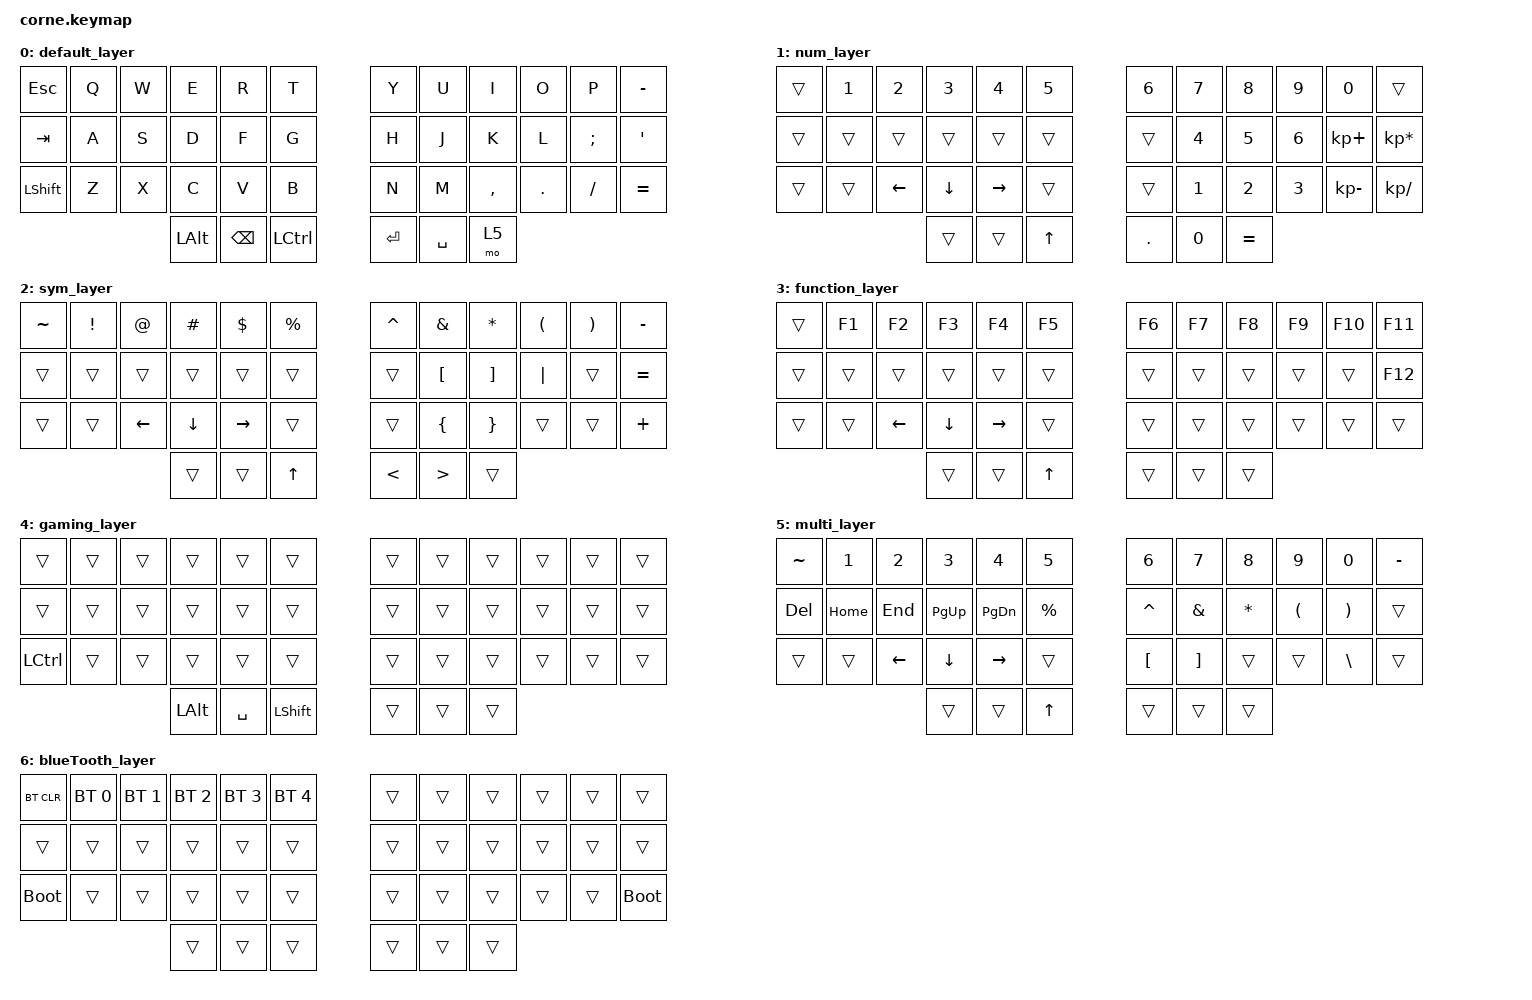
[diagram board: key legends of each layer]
/*
 * Copyright (c) 2020 The ZMK Contributors
 *
 * SPDX-License-Identifier: MIT
 */

#include <behaviors.dtsi>
#include <dt-bindings/zmk/keys.h>
#include <dt-bindings/zmk/bt.h>

#define DEFAULT 0
#define NUM     1
#define SYM     2
#define FUNC    3
#define GAMING  4
#define MULTI   5
#define BLUET   6

/* Key Position for Combos
*------------------------------------------------       -------------------------------------------------
*|0	|1	|2	|3	|4	|5	|	|6	|7	|8	|9	|10	|11	|
*------------------------------------------------	-------------------------------------------------											
*|12	|13	|14	|15	|16	|17	|	|18	|19	|20	|21	|22	|23	|
*------------------------------------------------	-------------------------------------------------													
*|24	|25	|26	|27	|28	|29	|	|30	|31	|32	|33	|34	|35	|
*------------------------------------------------       -------------------------------------------------									
*			|36	|37	|38	|	|39	|40	|41	|		
*			-------------------------       -------------------------
*/

/{
        combos {
                compatible = "zmk,combos";
                // Toggles the different layers using combos
                // Added combos for each side to get to all layers
                combo_pageUp{
                         timeout-ms = <50>;
                         key-positions = <2 3 4>;
                         bindings = <&kp PG_UP>;
                };
                combo_pageDn{
                         timeout-ms = <50>;
                         key-positions = <14 15 16>;
                         bindings = <&kp PG_DN>;
                };                
                combo_left{
                         timeout-ms = <50>;
                         key-positions = <14 26>;
                         bindings = <&kp LEFT>;
                };  
                combo_down{
                         timeout-ms = <50>;
                         key-positions = <15 27>;
                         bindings = <&kp DOWN>;
                };    
                combo_right{
                         timeout-ms = <50>;
                         key-positions = <16 28>;
                         bindings = <&kp RIGHT>;
                };    
                combo_up{
                         timeout-ms = <50>;
                         key-positions = <29 38>;
                         bindings = <&kp UP>;
                };             
                combo_OS{
                         timeout-ms = <50>;
                         key-positions = <36 37 38>;
                         bindings = <&kp LGUI>;
                };
                combo_ctrlHome{ 
                        timeout-ms = <50>; 
                        key-positions = <1 2 3 4>;
                        bindings = <&macro_CTRL_HOME>; 
                };
                combo_ctrlEnd{ 
                        timeout-ms = <50>; 
                        key-positions = <13 14 15 16>;
                        bindings = <&macro_CTRL_END>; 
                };   
                combo_Select_All{ 
                        timeout-ms = <50>; 
                        key-positions = <7 8 9 10>;
                        bindings = <&macro_Select_All>; 
                }; 
                combo_Copy{ 
                        timeout-ms = <50>; 
                        key-positions = <19 20 21 22>;
                        bindings = <&macro_Copy>; 
                }; 
                combo_Paste{ 
                        timeout-ms = <50>; 
                        key-positions = <31 32 33 34>;
                        bindings = <&macro_Paste>; 
                };              
                combo_blueT{
                        timeout-ms = <50>;
                        key-positions = <0 1 2>;
                        bindings = <&tog 6>;
                };
                combo_numL{
                        timeout-ms = <50>;
                        key-positions = <0 2>;
                        bindings = <&tog 1>;
                };
                combo_symL {
                        timeout-ms = <50>;
                        key-positions = <0 3>;
                        bindings = <&tog 2>;
                };        
                combo_funcL{
                        timeout-ms = <50>;
                        key-positions = <0 4>;
                        bindings = <&tog 3>;
                };     
                combo_gamingL{
                        timeout-ms = <50>;
                        key-positions = <0 5>;
                        bindings = <&tog 4>;
                };  
                combo_multiL{
                        timeout-ms = <50>;
                        key-positions = <28 29 38>;
                        bindings = <&tog 5>;
                };                    
                combo_numR{
                        timeout-ms = <50>;
                        key-positions = <11 6>;
                        bindings = <&tog 1>;
                };
                combo_symR{
                        timeout-ms = <50>;
                        key-positions = <11 7>;
                        bindings = <&tog 2>;
                };   

                combo_funcR{
                        timeout-ms = <50>;
                        key-positions = <11 8>;
                        bindings = <&tog 3>;
                };     
                combo_gamingR{
                        timeout-ms = <50>;
                        key-positions = <11 9>;
                        bindings = <&tog 4>;
                };    
                combo_multiR{
                        timeout-ms = <50>;
                        key-positions = <30 31 39>;
                        bindings = <&tog 5>;
                };       
                combo_vol_down{
                        timeout-ms = <50>;
                        key-positions = <22 34>;
                        bindings = <&kp C_VOLUME_DOWN>;
                };  
                combo_vol_up{
                        timeout-ms = <50>;
                        key-positions = <23 35>;
                        bindings = <&kp C_VOLUME_UP>;
                };       
                combo_num_1{
                        timeout-ms = <50>;
                        key-positions = <1 13>;
                        bindings = <&kp N1>;
                };               
                combo_num_2{
                        timeout-ms = <50>;
                        key-positions = <2 14>;
                        bindings = <&kp N2>;
                };
                combo_num_3{
                        timeout-ms = <50>;
                        key-positions = <3 15>;
                        bindings = <&kp N3>;
                };
                combo_num_4{
                        timeout-ms = <50>;
                        key-positions = <4 16>;
                        bindings = <&kp N4>;
                };
                combo_num_5{
                        timeout-ms = <50>;
                        key-positions = <5 17>;
                        bindings = <&kp N5>;
                };
                combo_num_6{
                        timeout-ms = <50>;
                        key-positions = <6 18>;
                        bindings = <&kp N6>;
                };
                combo_num_7{
                        timeout-ms = <50>;
                        key-positions = <7 19>;
                        bindings = <&kp N7>;
                };
                combo_num_8{
                        timeout-ms = <50>;
                        key-positions = <8 20>;
                        bindings = <&kp N8>;
                };
                combo_num_9{
                        timeout-ms = <50>;
                        key-positions = <9 21>;
                        bindings = <&kp N9>;
                };
                combo_num_0{
                        timeout-ms = <50>;
                        key-positions = <10 22>;
                        bindings = <&kp N0>;
                };
                combo_f1{
                        timeout-ms = <50>;
                        key-positions = <1 13 25>;
                        bindings = <&kp F1>;
                };               
                combo_f2{
                        timeout-ms = <50>;
                        key-positions = <2 14 26>;
                        bindings = <&kp F2>;
                };
                combo_f3{
                        timeout-ms = <50>;
                        key-positions = <3 15 27>;
                        bindings = <&kp F3>;
                };
                combo_f4{
                        timeout-ms = <50>;
                        key-positions = <4 16 28>;
                        bindings = <&kp F4>;
                };
                combo_f5{
                        timeout-ms = <50>;
                        key-positions = <5 17 29>;
                        bindings = <&kp F5>;
                };
                combo_f6{
                        timeout-ms = <50>;
                        key-positions = <6 18 30>;
                        bindings = <&kp F6>;
                };
                combo_f7{
                        timeout-ms = <50>;
                        key-positions = <7 19 31>;
                        bindings = <&kp F7>;
                };
                combo_f8{
                        timeout-ms = <50>;
                        key-positions = <8 20 32>;
                        bindings = <&kp F8>;
                };
                combo_f9{
                        timeout-ms = <50>;
                        key-positions = <9 21 33>;
                        bindings = <&kp F9>;
                };
                combo_f10{
                        timeout-ms = <50>;
                        key-positions = <10 22 34>;
                        bindings = <&kp F10>;
                };
                combo_f11{
                        timeout-ms = <50>;
                        key-positions = <11 23 35>;
                        bindings = <&kp F11>;
                };
        };
        macros{
                ZMK_MACRO(macro_CTRL_HOME,
                        wait-ms = <30>;
                        tap-ms = <40>;
                        bindings 
                                = <&macro_press         &kp LSHFT>
                                , <&macro_press         &kp LCTRL>
                                , <&macro_tap           &kp HOME>
                                , <&macro_release       &kp LCTRL>
                                , <&macro_release       &kp LSHFT>
                        ;
                )
                ZMK_MACRO(macro_CTRL_END,
                        wait-ms = <30>;
                        tap-ms = <40>;
                        bindings 
                                = <&macro_press         &kp LSHFT>
                                , <&macro_press         &kp LCTRL>
                                , <&macro_tap           &kp END>
                                , <&macro_release       &kp LCTRL>
                                , <&macro_release       &kp LSHFT>
                        ;
                )    
                ZMK_MACRO(macro_Select_All,
                        wait-ms = <30>;
                        tap-ms = <40>;
                        bindings 
                                = <&macro_press         &kp LCTRL>
                                , <&macro_tap           &kp A>
                                , <&macro_release       &kp LCTRL> 
                        ;
                )      
                ZMK_MACRO(macro_Copy,
                        wait-ms = <30>;
                        tap-ms = <40>;
                        bindings 
                                = <&macro_press         &kp LCTRL>
                                , <&macro_tap           &kp C>
                                , <&macro_release       &kp LCTRL> 
                        ;
                )
                ZMK_MACRO(macro_Paste,
                        wait-ms = <30>;
                        tap-ms = <40>;
                        bindings 
                                = <&macro_press         &kp LCTRL>
                                , <&macro_tap           &kp V>
                                , <&macro_release       &kp LCTRL> 
                        ;
                )                        
        };

        keymap {
                compatible = "zmk,keymap";

                default_layer {

                        bindings = < 
//-----------------------------------------------------------------------------------------------------------------------------------------------------------------------------------------------               
//|       ESC    |       Q       |        W      |       E       |        R      |        T      |        Y      |        U      |        I      |       O       |       P       |      -       |              
        &kp ESC         &kp Q           &kp W           &kp E           &kp R           &kp T           &kp Y           &kp U           &kp I           &kp O           &kp P        &kp MINUS
//|              |               |               |               |               |               |               |               |               |               |               |              |        
//-----------------------------------------------------------------------------------------------------------------------------------------------------------------------------------------------
//|       TAB    |       A       |       S       |       D       |        F      |        G      |        H      |        J      |        K      |       L       |       ;       |      '       |                
        &kp TAB         &kp A           &kp S           &kp D           &kp F           &kp G           &kp H           &kp J           &kp K           &kp L           &kp SEMI      &kp SQT
//|              |               |               |               |               |               |               |               |               |               |               |              |        
//-----------------------------------------------------------------------------------------------------------------------------------------------------------------------------------------------
//|  Left Shift  |       Z       |       X       |       C       |        V      |        B      |        N      |        M      |        ,      |       .       |       /       |       =      |            
      &kp LSHFT        &kp Z           &kp X           &kp C           &kp V           &kp B           &kp N           &kp M          &kp COMMA       &kp DOT         &kp FSLH       &kp EQUAL
//|              |               |               |               |               |               |               |               |               |               |               |              |        
//-----------------------------------------------------------------------------------------------------------------------------------------------------------------------------------------------        
//                                         |    Left ALT   |    Backspace  |   Left CTRL   |               |               |    Spacebar   |  Funct Layer  |
                                                &kp LALT       &kp BSPC        &kp LCTRL                        &kp RET         &kp SPACE       &mo 5
//                                         |               |               |               |               |               |               |               |
//                                         -----------------------------------------------------------------------------------------------------------------
                        >;
                };
                num_layer {
                        bindings = < 
 //-----------------------------------------------------------------------------------------------------------------------------------------------------------------------------------------------               
//|       _      |       1       |        2      |       3       |        4      |        5      |        6      |        7      |        8      |       9       |       0       |      _       |              
        &trans        &kp N1           &kp N2         &kp N3           &kp N4          &kp N5          &kp N6          &kp N7          &kp N8         &kp N9          &kp N0         &trans
//|              |               |               |               |               |               |               |               |               |               |               |              |        
//-----------------------------------------------------------------------------------------------------------------------------------------------------------------------------------------------
//|       _      |       _       |       _       |       _       |        _      |        _      |       _       |        4      |        5      |       6       |       +       |      *       |        
        &trans          &trans         &trans          &trans           &trans       &trans           &trans           &kp N4          &kp N5         &kp N6        &kp KP_PLUS   &kp KP_MULTIPLY
//|              |               |               |               |               |               |               |               |               |               |               |              |        
//-----------------------------------------------------------------------------------------------------------------------------------------------------------------------------------------------
//|       _      |       _       |      LEFT     |      DOWN     |      RIGHT    |        _      |       _       |        1      |        2      |       3       |       -       |      /       |            
        &trans        &trans           &kp LEFT       &kp DOWN         &kp RIGHT       &trans         &trans           &kp N1          &kp N2         &kp N3        &kp KP_MINUS   &kp KP_DIVIDE
//|              |               |               |               |               |               |               |               |               |               |               |              |        
//-----------------------------------------------------------------------------------------------------------------------------------------------------------------------------------------------        
//                                         |       _       |       _       |       UP       |               |       .       |       0       |       =       | 
                                                &trans           &trans          &kp UP                          &kp DOT         &kp N0        &kp EQUAL
//                                         |               |               |               |               |               |               |               |
//                                         -----------------------------------------------------------------------------------------------------------------                        

                        >;
                };

                sym_layer {
                        bindings = < 
//-----------------------------------------------------------------------------------------------------------------------------------------------------------------------------------------------               
//|       ~      |       !       |        @      |       #       |        $      |        %      |        ^      |        &      |        *      |       (       |        )      |      -       |              
       &kp TILDE      &kp EXCL         &kp AT         &kp HASH       &kp DOLLAR     &kp PERCENT      &kp CARET     &kp AMPERSAND   &kp ASTERISK      &kp LPAR        &kp RPAR        &kp MINUS
//|              |               |               |               |               |               |               |               |               |               |               |              |        
//-----------------------------------------------------------------------------------------------------------------------------------------------------------------------------------------------
//|       _      |       _       |       _       |       _       |        _      |        _      |        _      |     LBracket  |     RBracket  |      Pipe     |       _       |      =       |               
        &trans          &trans         &trans          &trans           &trans          &trans          &trans        &kp LBKT        &kp RBKT        &kp PIPE          &trans       &kp EQUAL
//|              |               |               |               |               |               |               |               |               |               |               |              |        
//-----------------------------------------------------------------------------------------------------------------------------------------------------------------------------------------------
//|       _      |       _       |      LEFT     |      DOWN     |      RIGHT    |        _      |        _      |     LBrace    |      RBrace   |       _       |       _       |      +       |            
        &trans        &trans           &kp LEFT       &kp DOWN         &kp RIGHT       &trans           &trans        &kp LBRC         &kp RBRC         &trans           &trans      &kp PLUS
//|              |               |               |               |               |               |               |               |               |               |               |              |        
//-----------------------------------------------------------------------------------------------------------------------------------------------------------------------------------------------        
//                                         |       _       |        _      |       UP       |               |    Less Then  |  Greater Then |       _       | 
                                                &trans           &trans          &kp UP                           &kp LT         &kp GT         &trans
//                                         |               |               |               |               |               |               |               |
//                                         -----------------------------------------------------------------------------------------------------------------
                        >;
                };
                function_layer {
                        bindings = < 
//-----------------------------------------------------------------------------------------------------------------------------------------------------------------------------------------------               
//|       _      |       F1      |       F2      |      F3       |       F4      |       F5      |       F6      |       F7      |       F8      |      F9       |      F10       |      F11    |            
        &trans         &kp F1          &kp F2         &kp F3          &kp F4          &kp F5          &kp F6          &kp F7           &kp F8         &kp F9          &kp F10         &kp F11
//|              |               |               |               |               |               |               |               |               |               |                |             |        
//-----------------------------------------------------------------------------------------------------------------------------------------------------------------------------------------------
//|       _      |       _       |       _       |       _       |        _      |       _      |        _      |        _      |        _      |       _       |       _        |      F12     |        
        &trans        &trans           &trans          &trans          &trans        &trans          &trans          &trans          &trans         &trans          &trans          &kp F12
//|              |               |               |               |               |               |               |               |               |               |               |              |        
//-----------------------------------------------------------------------------------------------------------------------------------------------------------------------------------------------
//|       _      |       _       |      LEFT     |      DOWN     |      RIGHT    |        _      |        _      |        _      |        _      |       _       |       _       |      _       |            
        &trans        &trans           &kp LEFT       &kp DOWN         &kp RIGHT       &trans           &trans          &trans         &trans         &trans           &trans         &trans
//|              |               |               |               |               |               |               |               |               |               |               |              |        
//-----------------------------------------------------------------------------------------------------------------------------------------------------------------------------------------------        
//                                         |       _       |    DELETE     |      UP       |               |       _       |       _       |       _       | 
                                                &trans          &trans          &kp UP                        &trans            &trans          &trans
//                                         |               |               |               |               |               |               |               |
//                                         -----------------------------------------------------------------------------------------------------------------
                        >;
                };           
                gaming_layer {    
                        bindings = < 
//-------------------------------------------------------------------------------------------------------------------------------------------------------------------------------------              
//|       _      |       _      |       _      |       _      |       _      |       _      |       _      |       _      |       _      |       _      |       _      |       _      |              
       &trans         &trans         &trans         &trans         &trans         &trans         &trans         &trans         &trans         &trans         &trans         &trans
//|       _      |       _      |       _      |       _      |       _      |       _      |       _      |       _      |       _      |       _      |       _      |       _      |         
//-------------------------------------------------------------------------------------------------------------------------------------------------------------------------------------              
//|       _      |       _      |       _      |       _      |       _      |       _      |       _      |       _      |       _      |       _      |       _      |       _      |              
       &trans         &trans         &trans         &trans         &trans         &trans         &trans         &trans         &trans         &trans         &trans         &trans
//|       _      |       _      |       _      |       _      |       _      |       _      |       _      |       _      |       _      |       _      |       _      |       _      |         
//-------------------------------------------------------------------------------------------------------------------------------------------------------------------------------------              
//|  Left CTRL   |       _      |       _      |       _      |       _      |       _      |       _      |       _      |       _      |       _      |       _      |       _      |              
     &kp LCTRL        &trans         &trans         &trans         &trans         &trans         &trans         &trans         &trans         &trans         &trans         &trans
//|       _      |       _      |       _      |       _      |       _      |       _      |       _      |       _      |       _      |       _      |       _      |       _      |         
//------------------------------------------------------------------------------------------------------------------------------------------------------------------------------------- 
//                                     |   Left ALT   |   Spacebar   |  Left Shift  |       _      |       _      |       _      |
                                           &kp LALT       &kp SPACE      &kp LSHFT       &trans         &trans         &trans
//                                     |       _      |       _      |       _      |       _      |       _      |       _      |
//                                     -------------------------------------------------------------------------------------------
                        >;
                };   
                multi_layer {    
                        bindings = < 
//-----------------------------------------------------------------------------------------------------------------------------------------------------------------------------------------------               
//|       ~      |       1       |        2      |       3       |        4      |        5      |        6      |        7      |        8      |       9       |       0       |       -       |            
     &kp TILDE         &kp N1           &kp N2         &kp N3           &kp N4          &kp N5          &kp N6          &kp N7          &kp N8         &kp N9          &kp N0        &kp MINUS
//|              |               |               |               |               |               |               |               |               |               |               |               |        
 //-----------------------------------------------------------------------------------------------------------------------------------------------------------------------------------------------               
//|    DELETE    |     HOME      |       END     |      PGUP     |     PGDOWN    |        %      |        ^      |        &      |        *      |  LParentheses | RParentheses  |       _       |              
     &kp DELETE      &kp HOME          &kp END        &kp PG_UP       &kp PG_DN     &kp PERCENT      &kp CARET     &kp AMPERSAND   &kp ASTERISK      &kp LPAR        &kp RPAR         &trans
//|              |               |               |               |               |               |               |               |               |               |               |               |        
//-----------------------------------------------------------------------------------------------------------------------------------------------------------------------------------------------
//|       _      |       _       |      LEFT     |      DOWN     |      RIGHT    |       _       |     LBracket  |     RBracket  |       _       |       _       |    B Slash    |       _       |            
        &trans        &trans          &kp LEFT       &kp DOWN         &kp RIGHT       &trans          &kp LBKT        &kp RBKT         &trans          &trans         &kp BSLH         &trans    
//|              |               |               |               |               |               |               |               |               |               |               |               |        
//-----------------------------------------------------------------------------------------------------------------------------------------------------------------------------------------------        
//                                         |       _       |       _       |       UP       |               |       _       |       _       |       _       | 
                                                &trans          &trans           &kp UP                          &trans            &trans          &trans
//                                         |               |               |                |               |               |               |               |
//                                          -----------------------------------------------------------------------------------------------------------------
                        >;
                };     
                blueTooth_layer {    
                        bindings = < 
//-----------------------------------------------------------------------------------------------------------------------------------------------------------------------------------------------               
//|   BT Clear   |      BT1      |       BT2      |      BT3       |      BT4       |      BT5       |        _      |        _      |        _      |       _       |       _       |      _       |              
     &bt BT_CLR    &bt BT_SEL 0     &bt BT_SEL 1     &bt BT_SEL 2     &bt BT_SEL 3     &bt BT_SEL 4        &trans          &trans           &trans         &trans          &trans         &trans
//|              |               |                |                |                |                |               |               |               |               |               |              |        
//-----------------------------------------------------------------------------------------------------------------------------------------------------------------------------------------------
//|       _      |       _       |       _       |       _       |        _      |        _      |        _      |        _      |        _      |       _       |       _       |      _       |        

        &trans          &trans           &trans        &trans           &trans          &trans          &trans          &trans          &trans         &trans          &trans         &trans
//|              |               |               |               |               |               |               |               |               |               |               |              |        
//-----------------------------------------------------------------------------------------------------------------------------------------------------------------------------------------------
//|  Bootloader  |       _       |       _       |       _       |        _      |        _      |        _      |        _      |        _      |       _       |       _       |  Bootloader  |             
     &bootloader        &trans         &trans          &trans           &trans         &trans           &trans          &trans         &trans         &trans           &trans       &bootloader
//|              |               |               |               |               |               |               |               |               |               |               |              |        
//-----------------------------------------------------------------------------------------------------------------------------------------------------------------------------------------------        
//                                         |       _       |       _       |       _       |               |       _       |       _       |       _       | 
                                                &trans          &trans          &trans                        &trans            &trans          &trans
//                                         |               |               |               |               |               |               |               |
//                                         -----------------------------------------------------------------------------------------------------------------

                        >;
                };                                         
        };
};
